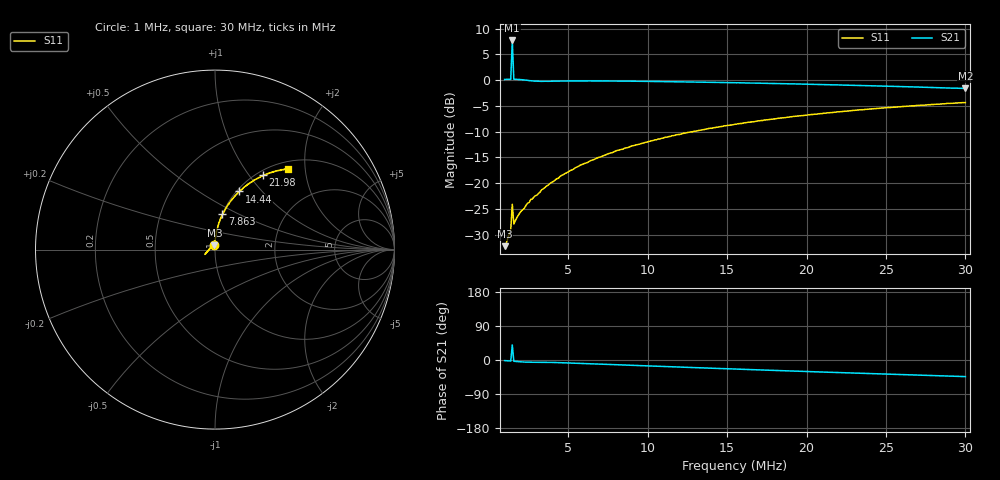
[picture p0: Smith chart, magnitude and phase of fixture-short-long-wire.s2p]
!File created by NanoVNA-F V2
# Hz S RI R 50
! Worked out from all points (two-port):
!   301 points, 1 MHz to 30 MHz, reference 50 ohm
!   highest |S21| = 7.73 dB at 1.483 MHz (marker M1); lowest = -1.6 dB at 30 MHz (marker M2)
!   |S21| within 3 dB of the highest: 1.445 MHz to 1.522 MHz (76.83 kHz wide, 5.18 % of centre)
!   lowest |S11| = -32.3 dB at 1 MHz (marker M3), VSWR 1.05, Z = 49.6 + j2.39 ohm
!   |S11| at or under -10 dB: start of sweep to 12.84 MHz
!   S12 and S22 are empty: the file has one direction only
!   S11 on the Smith chart (normalised r, x): 1 MHz: 0.99, +0.05; 7.863 MHz: 1.00, +0.41; 14.44 MHz: 1.03, +0.76; 21.98 MHz: 1.07, +1.17; 30 MHz: 1.14, +1.63
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1000000  -0.00358 0.0241  1.017 -0.0284  0 0  0 0
1096666  -0.00269 0.0257  1.019 -0.0337  0 0  0 0
1386664  -0.00182 0.0351  1.019 -0.0471  0 0  0 0
1483330  -0.056 -0.0269  1.87 1.558  0 0  0 0
1579996  -0.00126 0.0401  1.02 -0.0589  0 0  0 0
1966660  -8.6e-05 0.0516  1.012 -0.0822  0 0  0 0
2256658  0.00178 0.0574  1.001 -0.0965  0 0  0 0
2449990  0.000651 0.0639  0.9916 -0.1009  0 0  0 0
2546656  0.00228 0.0648  0.9853 -0.1027  0 0  0 0
2643322  0.00454 0.0692  0.9832 -0.1019  0 0  0 0
3029986  0.00448 0.076  0.9718 -0.1027  0 0  0 0
3319984  0.00692 0.0856  0.9694 -0.1013  0 0  0 0
4576642  0.0125 0.1179  0.9738 -0.1213  0 0  0 0
5833300  0.021 0.1494  0.9729 -0.1542  0 0  0 0
7863286  0.0414 0.1962  0.9584 -0.2068  0 0  0 0
1.06666e7  0.0775 0.2566  0.9305 -0.2768  0 0  0 0
1.443657e7  0.1358 0.3239  0.88 -0.3614  0 0  0 0
1.54999e7  0.1531 0.3399  0.8647 -0.3825  0 0  0 0
2.03332e7  0.2392 0.3982  0.7819 -0.4677  0 0  0 0
2.197652e7  0.2684 0.4138  0.7534 -0.492  0 0  0 0
2.51665e7  0.3256 0.4348  0.692 -0.5324  0 0  0 0
2.99998e7  0.4076 0.4489  0.6001 -0.5757  0 0  0 0
